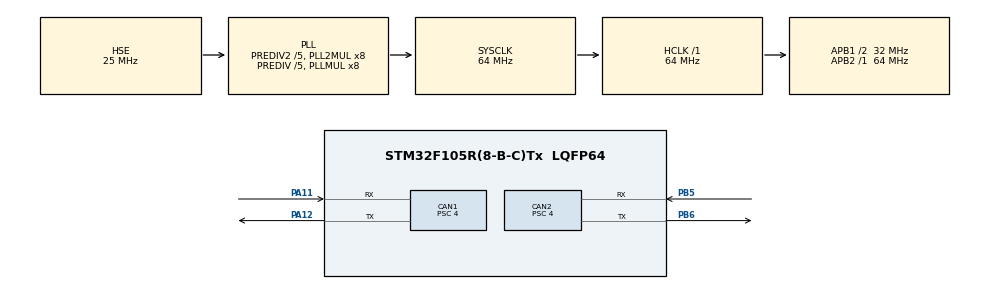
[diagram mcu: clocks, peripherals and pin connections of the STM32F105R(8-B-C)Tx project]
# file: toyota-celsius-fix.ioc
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CAN1.BS1=CAN_BS1_13TQ
CAN1.BS2=CAN_BS2_2TQ
CAN1.CalculateBaudRate=500000
CAN1.CalculateTimeBit=2000
CAN1.CalculateTimeQuantum=125.0
CAN1.NART=ENABLE
CAN1.Prescaler=4
CAN2.BS1=CAN_BS1_13TQ
CAN2.BS2=CAN_BS2_2TQ
CAN2.CalculateBaudRate=500000
CAN2.CalculateTimeBit=2000
CAN2.CalculateTimeQuantum=125.0
CAN2.NART=ENABLE
CAN2.Prescaler=4
IWDG.Prescaler=IWDG_PRESCALER_16
Mcu.Family=STM32F1
Mcu.Name=STM32F105R(8-B-C)Tx
Mcu.Package=LQFP64
NVIC.CAN1_RX0_IRQn=true\:0\:0\:false\:true\:true\:1\:true\:true\:true
NVIC.CAN2_RX0_IRQn=true\:0\:0\:false\:true\:true\:2\:true\:true\:true
NVIC.PriorityGroup=NVIC_PRIORITYGROUP_4
PA11.Mode=CAN_Activate
PA11.Signal=CAN1_RX
PA12.Mode=CAN_Activate
PA12.Signal=CAN1_TX
PA13.Mode=Serial_Wire
PA13.Signal=SYS_JTMS-SWDIO
PA14.Mode=Serial_Wire
PA14.Signal=SYS_JTCK-SWCLK
PB5.Mode=CAN_Activate
PB5.Signal=CAN2_RX
PB6.Mode=CAN_Activate
PB6.Signal=CAN2_TX
PD0-OSC_IN.Mode=HSE-External-Oscillator
PD0-OSC_IN.Signal=RCC_OSC_IN
PD1-OSC_OUT.Mode=HSE-External-Oscillator
PD1-OSC_OUT.Signal=RCC_OSC_OUT
ProjectManager.HeapSize=0x200
ProjectManager.StackSize=0x400
ProjectManager.TargetToolchain=Makefile
RCC.AHBFreq_Value=64000000
RCC.APB1CLKDivider=RCC_HCLK_DIV2
RCC.APB1Freq_Value=32000000
RCC.APB1TimFreq_Value=64000000
RCC.APB2Freq_Value=64000000
RCC.APB2TimFreq_Value=64000000
RCC.HCLKFreq_Value=64000000
RCC.HSEDivPLL=RCC_HSE_PREDIV_DIV5
RCC.HSE_VALUE=25000000
RCC.PLLMUL=RCC_PLL_MUL8
RCC.PLLSourceVirtual=RCC_PLLSOURCE_HSE
RCC.Prediv1Source=RCC_PREDIV1_SOURCE_PLL2
RCC.Prediv2=RCC_HSE_PREDIV2_DIV5
RCC.SYSCLKFreq_VALUE=64000000
RCC.SYSCLKSource=RCC_SYSCLKSOURCE_PLLCLK
RCC.USBFreq_Value=42666666.666666664
VP_IWDG_VS_IWDG.Mode=IWDG_Activate
board=custom

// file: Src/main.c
/* USER CODE BEGIN Header */
/**
  ******************************************************************************
  * @file           : main.c
  * @brief          : Main program body
  ******************************************************************************
  * @attention
  *
  * Copyright (c) 2026 STMicroelectronics.
  * All rights reserved.
  *
  * This software is licensed under terms that can be found in the LICENSE file
  * in the root directory of this software component.
  * If no LICENSE file comes with this software, it is provided AS-IS.
  *
  ******************************************************************************
  */
/* USER CODE END Header */
#include "main.h"

CAN_HandleTypeDef hcan1;
CAN_HandleTypeDef hcan2;

IWDG_HandleTypeDef hiwdg;

void SystemClock_Config(void);
static void MX_GPIO_Init(void);
static void MX_CAN1_Init(void);
static void MX_CAN2_Init(void);
static void MX_IWDG_Init(void);
static void MX_NVIC_Init(void);

/* USER CODE BEGIN 0 */
void CAN_Interface_Start(CAN_HandleTypeDef *hcan)
{
   uint32_t filterBank = (hcan->Instance == CAN1) ? 0 : 14;
   CAN_FilterTypeDef sFilterConfig = {
       .FilterBank           = filterBank,
       .FilterMode           = CAN_FILTERMODE_IDMASK,
       .FilterScale          = CAN_FILTERSCALE_32BIT,
       .FilterIdHigh         = 0x0000,
       .FilterIdLow          = 0x0000,
       .FilterMaskIdHigh     = 0x0000,
       .FilterMaskIdLow      = 0x0000,
       .FilterFIFOAssignment = CAN_RX_FIFO0,
       .FilterActivation     = ENABLE,
       .SlaveStartFilterBank = 14
   };

   if (HAL_CAN_ConfigFilter(hcan, &sFilterConfig) != HAL_OK)
   {
       Error_Handler();
   }

   if (HAL_CAN_Start(hcan) != HAL_OK)
   {
       Error_Handler();
   }

   if (HAL_CAN_ActivateNotification(hcan, CAN_IT_RX_FIFO0_MSG_PENDING) != HAL_OK)
   {
       Error_Handler();
   }
}

void HAL_CAN_RxFifo0MsgPendingCallback(CAN_HandleTypeDef *hcan)
{
   CAN_RxHeaderTypeDef rx_h;
   uint8_t data[8];
   uint32_t mailbox;

   CAN_HandleTypeDef *dest = (hcan == &hcan1) ? &hcan2 : &hcan1;

   if (HAL_CAN_GetRxMessage(hcan, CAN_RX_FIFO0, &rx_h, data) == HAL_OK)
   {
       if (rx_h.StdId == 0x624) // set units to Celsius
       {
           data[2] = 0x00;
       }

       CAN_TxHeaderTypeDef tx_h = {
           .StdId = rx_h.StdId,
           .ExtId = rx_h.ExtId,
           .IDE   = rx_h.IDE,
           .RTR   = rx_h.RTR,
           .DLC   = rx_h.DLC
       };

       HAL_StatusTypeDef res = HAL_CAN_AddTxMessage(dest, &tx_h, data, &mailbox);
       if (res != HAL_OK)
       {
           // drop frame ¯\(ツ)/¯
       }
   }
}
/* USER CODE END 0 */

int main(void)
{

  /* MCU Configuration--------------------------------------------------------*/

  /* Reset of all peripherals, Initializes the Flash interface and the Systick. */
  HAL_Init();

  /* Configure the system clock */
  SystemClock_Config();

  /* Initialize all configured peripherals */
  MX_GPIO_Init();
  MX_CAN1_Init();
  MX_CAN2_Init();
  MX_IWDG_Init();

  /* Initialize interrupts */
  MX_NVIC_Init();
  /* USER CODE BEGIN 2 */
  CAN_Interface_Start(&hcan1);
  CAN_Interface_Start(&hcan2);
  /* USER CODE END 2 */

  /* Infinite loop */
  while (1)
  {

    /* USER CODE BEGIN 3 */
    HAL_IWDG_Refresh(&hiwdg);
  }
  /* USER CODE END 3 */
}

void SystemClock_Config(void)
{
  RCC_OscInitTypeDef RCC_OscInitStruct = {0};
  RCC_ClkInitTypeDef RCC_ClkInitStruct = {0};

  /** Initializes the RCC Oscillators according to the specified parameters
  * in the RCC_OscInitTypeDef structure.
  */
  RCC_OscInitStruct.OscillatorType = RCC_OSCILLATORTYPE_LSI|RCC_OSCILLATORTYPE_HSE;
  RCC_OscInitStruct.HSEState = RCC_HSE_ON;
  RCC_OscInitStruct.HSEPredivValue = RCC_HSE_PREDIV_DIV5;
  RCC_OscInitStruct.HSIState = RCC_HSI_ON;
  RCC_OscInitStruct.LSIState = RCC_LSI_ON;
  RCC_OscInitStruct.Prediv1Source = RCC_PREDIV1_SOURCE_PLL2;
  RCC_OscInitStruct.PLL.PLLState = RCC_PLL_ON;
  RCC_OscInitStruct.PLL.PLLSource = RCC_PLLSOURCE_HSE;
  RCC_OscInitStruct.PLL.PLLMUL = RCC_PLL_MUL8;
  RCC_OscInitStruct.PLL2.PLL2State = RCC_PLL2_ON;
  RCC_OscInitStruct.PLL2.PLL2MUL = RCC_PLL2_MUL8;
  RCC_OscInitStruct.PLL2.HSEPrediv2Value = RCC_HSE_PREDIV2_DIV5;
  if (HAL_RCC_OscConfig(&RCC_OscInitStruct) != HAL_OK)
  {
    Error_Handler();
  }

  /** Initializes the CPU, AHB and APB buses clocks
  */
  RCC_ClkInitStruct.ClockType = RCC_CLOCKTYPE_HCLK|RCC_CLOCKTYPE_SYSCLK
                              |RCC_CLOCKTYPE_PCLK1|RCC_CLOCKTYPE_PCLK2;
  RCC_ClkInitStruct.SYSCLKSource = RCC_SYSCLKSOURCE_PLLCLK;
  RCC_ClkInitStruct.AHBCLKDivider = RCC_SYSCLK_DIV1;
  RCC_ClkInitStruct.APB1CLKDivider = RCC_HCLK_DIV2;
  RCC_ClkInitStruct.APB2CLKDivider = RCC_HCLK_DIV1;

  if (HAL_RCC_ClockConfig(&RCC_ClkInitStruct, FLASH_LATENCY_2) != HAL_OK)
  {
    Error_Handler();
  }

  /** Configure the Systick interrupt time
  */
  __HAL_RCC_PLLI2S_ENABLE();
}

/**
  * @brief NVIC Configuration.
  * @retval None
  */
static void MX_NVIC_Init(void)
{
  /* CAN1_RX0_IRQn interrupt configuration */
  HAL_NVIC_SetPriority(CAN1_RX0_IRQn, 0, 0);
  HAL_NVIC_EnableIRQ(CAN1_RX0_IRQn);
  /* CAN2_RX0_IRQn interrupt configuration */
  HAL_NVIC_SetPriority(CAN2_RX0_IRQn, 0, 0);
  HAL_NVIC_EnableIRQ(CAN2_RX0_IRQn);
}

static void MX_CAN1_Init(void)
{

  hcan1.Instance = CAN1;
  hcan1.Init.Prescaler = 4;
  hcan1.Init.Mode = CAN_MODE_NORMAL;
  hcan1.Init.SyncJumpWidth = CAN_SJW_1TQ;
  hcan1.Init.TimeSeg1 = CAN_BS1_13TQ;
  hcan1.Init.TimeSeg2 = CAN_BS2_2TQ;
  hcan1.Init.TimeTriggeredMode = DISABLE;
  hcan1.Init.AutoBusOff = DISABLE;
  hcan1.Init.AutoWakeUp = DISABLE;
  hcan1.Init.AutoRetransmission = ENABLE;
  hcan1.Init.ReceiveFifoLocked = DISABLE;
  hcan1.Init.TransmitFifoPriority = DISABLE;
  if (HAL_CAN_Init(&hcan1) != HAL_OK)
  {
    Error_Handler();
  }

}

static void MX_CAN2_Init(void)
{

  hcan2.Instance = CAN2;
  hcan2.Init.Prescaler = 4;
  hcan2.Init.Mode = CAN_MODE_NORMAL;
  hcan2.Init.SyncJumpWidth = CAN_SJW_1TQ;
  hcan2.Init.TimeSeg1 = CAN_BS1_13TQ;
  hcan2.Init.TimeSeg2 = CAN_BS2_2TQ;
  hcan2.Init.TimeTriggeredMode = DISABLE;
  hcan2.Init.AutoBusOff = DISABLE;
  hcan2.Init.AutoWakeUp = DISABLE;
  hcan2.Init.AutoRetransmission = ENABLE;
  hcan2.Init.ReceiveFifoLocked = DISABLE;
  hcan2.Init.TransmitFifoPriority = DISABLE;
  if (HAL_CAN_Init(&hcan2) != HAL_OK)
  {
    Error_Handler();
  }

}

static void MX_IWDG_Init(void)
{

  hiwdg.Instance = IWDG;
  hiwdg.Init.Prescaler = IWDG_PRESCALER_16;
  hiwdg.Init.Reload = 4095;
  if (HAL_IWDG_Init(&hiwdg) != HAL_OK)
  {
    Error_Handler();
  }

}

static void MX_GPIO_Init(void)
{

  /* GPIO Ports Clock Enable */
  __HAL_RCC_GPIOD_CLK_ENABLE();
  __HAL_RCC_GPIOA_CLK_ENABLE();
  __HAL_RCC_GPIOB_CLK_ENABLE();

}

void Error_Handler(void)
{
  __disable_irq();
  while (1)
  {
  }
}
